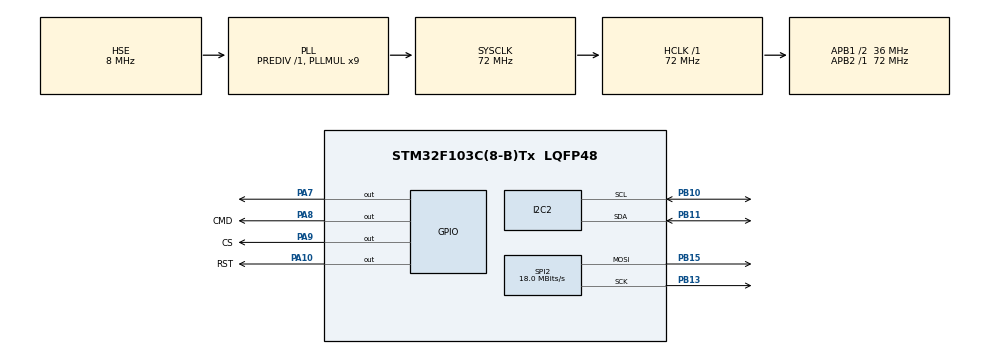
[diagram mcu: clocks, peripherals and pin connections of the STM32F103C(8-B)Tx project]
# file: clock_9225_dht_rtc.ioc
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Mcu.Family=STM32F1
Mcu.Name=STM32F103C(8-B)Tx
Mcu.Package=LQFP48
NVIC.PriorityGroup=NVIC_PRIORITYGROUP_4
PA10.GPIO_Label=RST
PA10.Signal=GPIO_Output
PA13.Mode=Serial_Wire
PA13.Signal=SYS_JTMS-SWDIO
PA14.Mode=Serial_Wire
PA14.Signal=SYS_JTCK-SWCLK
PA7.Signal=GPIO_Output
PA8.GPIO_Label=CMD
PA8.Signal=GPIO_Output
PA9.GPIO_Label=CS
PA9.Signal=GPIO_Output
PB10.Mode=I2C
PB10.Signal=I2C2_SCL
PB11.Mode=I2C
PB11.Signal=I2C2_SDA
PB13.Mode=TX_Only_Simplex_Unidirect_Master
PB13.Signal=SPI2_SCK
PB15.Mode=TX_Only_Simplex_Unidirect_Master
PB15.Signal=SPI2_MOSI
PD0-OSC_IN.Mode=HSE-External-Oscillator
PD0-OSC_IN.Signal=RCC_OSC_IN
PD1-OSC_OUT.Mode=HSE-External-Oscillator
PD1-OSC_OUT.Signal=RCC_OSC_OUT
ProjectManager.HeapSize=0x200
ProjectManager.StackSize=0x400
ProjectManager.TargetToolchain=STM32CubeIDE
RCC.AHBFreq_Value=72000000
RCC.APB1CLKDivider=RCC_HCLK_DIV2
RCC.APB1Freq_Value=36000000
RCC.APB1TimFreq_Value=72000000
RCC.APB2Freq_Value=72000000
RCC.APB2TimFreq_Value=72000000
RCC.HCLKFreq_Value=72000000
RCC.PLLMUL=RCC_PLL_MUL9
RCC.PLLSourceVirtual=RCC_PLLSOURCE_HSE
RCC.SYSCLKFreq_VALUE=72000000
RCC.SYSCLKSource=RCC_SYSCLKSOURCE_PLLCLK
RCC.USBFreq_Value=72000000
SPI2.CalculateBaudRate=18.0 MBits/s
SPI2.Direction=SPI_DIRECTION_2LINES
SPI2.Mode=SPI_MODE_MASTER
SPI2.VirtualType=VM_MASTER
board=custom

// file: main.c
/* USER CODE BEGIN Header */
/**
  ******************************************************************************
  * @file           : main.c
  * @brief          : Main program body
  ******************************************************************************
  * @attention
  *
  * Copyright (c) 2023 STMicroelectronics.
  * All rights reserved.
  *
  * This software is licensed under terms that can be found in the LICENSE file
  * in the root directory of this software component.
  * If no LICENSE file comes with this software, it is provided AS-IS.
  *
  ******************************************************************************
  */
/* USER CODE END Header */
#include "main.h"

/* USER CODE BEGIN Includes */
#include "ILI9225.h"
#include "DHT.h"
#include "stdio.h"
#include "stdint.h"
#include <string.h>
#include "RTC.h"
/* USER CODE END Includes */

I2C_HandleTypeDef hi2c2;

SPI_HandleTypeDef hspi2;

/* USER CODE BEGIN PV */
uint8_t second_present, min_present, hour_present, date_present, month_present, year_present;
uint8_t second_temp, min_temp, hour_temp, date_temp, month_temp, year_temp;
char temperature_string[100];
char humidity_string[100];
float Temperature;
float Humidity;
char str1[100];

char str2[100];

DHT_DataTypedef DHT11_Data;
/* USER CODE END PV */

void SystemClock_Config(void);
static void MX_GPIO_Init(void);
static void MX_SPI2_Init(void);
static void MX_I2C2_Init(void);

/* USER CODE BEGIN 0 */
DHT_DataTypedef DHT11;
DateTime_t datetime;

void Read_DataDHT(void)
{
	DHT_GetData(&DHT11_Data);
	Temperature = DHT11_Data.Temperature;
	Humidity = DHT11_Data.Humidity;
}

/* USER CODE END 0 */

int main(void)
{

  /* MCU Configuration--------------------------------------------------------*/

  /* Reset of all peripherals, Initializes the Flash interface and the Systick. */
  HAL_Init();

  /* Configure the system clock */
  SystemClock_Config();

  /* Initialize all configured peripherals */
  MX_GPIO_Init();
  MX_SPI2_Init();
  MX_I2C2_Init();
  /* USER CODE BEGIN 2 */
  lcd_init();
  fill_rectangle(0, 0, WIDTH, HEIGHT, COLOR_WHITE);
  draw_string(0, 50, COLOR_GREENYELLOW, 5, "HELLO");
  HAL_Delay(2500);
  fill_rectangle(0, 0, WIDTH, HEIGHT, COLOR_WHITE);
//  Read_DataDHT();
//
  // Cài đặt thời gian ban đầu
  datetime.second = 15;
  datetime.min = 44;
  datetime.hour = 12;
  datetime.day = 8;
  datetime.date = 58;
  datetime.month = 12;
  datetime.year = 23;
  RTC_WriteTime(&datetime);

  draw_string(20, 50, COLOR_GOLD, 5, "QMDP");
  HAL_Delay(2500);
  fill_rectangle(0, 0, 176, 220, COLOR_WHITE);
//  Read_DataDHT();
  draw_string(20, 20, COLOR_GOLD, 1, "TEMPERATURE");
  draw_string(20, 40, COLOR_GOLD, 1, "HUMIDITY");
  /* USER CODE END 2 */

  /* Infinite loop */
  while (1)
  {

    /* USER CODE BEGIN 3 */

		 RTC_ReadTime(&datetime);
		  second_temp = datetime.second;
		  min_temp = datetime.min;
		  hour_temp = datetime.hour;
		  date_temp = datetime.date;
		  month_temp = datetime.month;
		  year_temp = datetime.year;
		  sprintf(str1, "Time %.2d:%.2d:%.2d", datetime.hour, datetime.min, datetime.second);

		  if(second_temp != second_present)
		  {
			  fill_rectangle(140, 100, 160, 110, COLOR_WHITE);
			  second_present = second_temp;
		  }
		  draw_string(40, 100, COLOR_BLACK, 1, str1);

		  if(min_temp != min_present)
		  	  {
		  		  fill_rectangle(110, 100, 130, 110, COLOR_WHITE);
		  		  min_present = min_temp;
		  	  }
		  draw_string(40, 100, COLOR_BLACK, 1, str1);

		  if(hour_temp != hour_present)
		 	  	  {
		 	  		  fill_rectangle(85, 100, 105, 110, COLOR_WHITE);
		 	  		  hour_present = hour_temp;
		 	  	  }
		  draw_string(40, 100, COLOR_BLACK, 1, str1);

		  sprintf(str2,"Date %.2d/%.2d/%.2d",datetime.date,datetime.month,datetime.year );
//	// để sprintf ở đây cho nó chính xác, date, month, year lâu lắm
//		  //để sprintf ở đây để convert, lệnh in lên LCD nằm trong thư viện của LCD
		  if(date_temp != date_present)
		  	 	  	  {
		  	 	  		  fill_rectangle(85, 115, 105, 135, COLOR_WHITE);
		  	 	  		  date_present = date_temp;
		  	 	  	  }
		  	  draw_string(40, 120, COLOR_BLACK, 1, str2);

		  	if(month_temp != month_present)
		  		 	  	  {
		  		 	  		  fill_rectangle(110, 115, 130, 135, COLOR_WHITE);
		  		 	  		  month_present = month_temp;
		  		 	  	  }
		  		  draw_string(40, 120, COLOR_BLACK, 1, str2);

		  		if(year_temp != year_present)
		  			 	  	  {
		  			 	  		  fill_rectangle(135, 115, 160, 135, COLOR_WHITE);
		  			 	  		  year_present = year_temp;
		  			 	  	  }
		  			  draw_string(40, 120, COLOR_BLACK, 1, str2);

	      snprintf(temperature_string, 7, "%.2f", Temperature);
	      snprintf(humidity_string, 7, "%.2f", Humidity);
	      fill_rectangle(150, 20, 220, 50, COLOR_WHITE);
//          Read_DataDHT();
	      draw_string(20, 20, COLOR_GOLD, 1, "TEMPERATURE");
	      draw_string(20, 40, COLOR_GOLD, 1, "HUMIDITY");

	      draw_string(150, 20, COLOR_BLUE, 1, temperature_string);
		  draw_string(150, 40, COLOR_BLUE, 1, humidity_string);
//	  	  DHT_GetData(&dht11);
	  	  Read_DataDHT();
  }
  /* USER CODE END 3 */
}

void SystemClock_Config(void)
{
  RCC_OscInitTypeDef RCC_OscInitStruct = {0};
  RCC_ClkInitTypeDef RCC_ClkInitStruct = {0};

  /** Initializes the RCC Oscillators according to the specified parameters
  * in the RCC_OscInitTypeDef structure.
  */
  RCC_OscInitStruct.OscillatorType = RCC_OSCILLATORTYPE_HSE;
  RCC_OscInitStruct.HSEState = RCC_HSE_ON;
  RCC_OscInitStruct.HSEPredivValue = RCC_HSE_PREDIV_DIV1;
  RCC_OscInitStruct.HSIState = RCC_HSI_ON;
  RCC_OscInitStruct.PLL.PLLState = RCC_PLL_ON;
  RCC_OscInitStruct.PLL.PLLSource = RCC_PLLSOURCE_HSE;
  RCC_OscInitStruct.PLL.PLLMUL = RCC_PLL_MUL9;
  if (HAL_RCC_OscConfig(&RCC_OscInitStruct) != HAL_OK)
  {
    Error_Handler();
  }

  /** Initializes the CPU, AHB and APB buses clocks
  */
  RCC_ClkInitStruct.ClockType = RCC_CLOCKTYPE_HCLK|RCC_CLOCKTYPE_SYSCLK
                              |RCC_CLOCKTYPE_PCLK1|RCC_CLOCKTYPE_PCLK2;
  RCC_ClkInitStruct.SYSCLKSource = RCC_SYSCLKSOURCE_PLLCLK;
  RCC_ClkInitStruct.AHBCLKDivider = RCC_SYSCLK_DIV1;
  RCC_ClkInitStruct.APB1CLKDivider = RCC_HCLK_DIV2;
  RCC_ClkInitStruct.APB2CLKDivider = RCC_HCLK_DIV1;

  if (HAL_RCC_ClockConfig(&RCC_ClkInitStruct, FLASH_LATENCY_2) != HAL_OK)
  {
    Error_Handler();
  }
}

static void MX_I2C2_Init(void)
{

  hi2c2.Instance = I2C2;
  hi2c2.Init.ClockSpeed = 100000;
  hi2c2.Init.DutyCycle = I2C_DUTYCYCLE_2;
  hi2c2.Init.OwnAddress1 = 0;
  hi2c2.Init.AddressingMode = I2C_ADDRESSINGMODE_7BIT;
  hi2c2.Init.DualAddressMode = I2C_DUALADDRESS_DISABLE;
  hi2c2.Init.OwnAddress2 = 0;
  hi2c2.Init.GeneralCallMode = I2C_GENERALCALL_DISABLE;
  hi2c2.Init.NoStretchMode = I2C_NOSTRETCH_DISABLE;
  if (HAL_I2C_Init(&hi2c2) != HAL_OK)
  {
    Error_Handler();
  }

}

static void MX_SPI2_Init(void)
{

  /* SPI2 parameter configuration*/
  hspi2.Instance = SPI2;
  hspi2.Init.Mode = SPI_MODE_MASTER;
  hspi2.Init.Direction = SPI_DIRECTION_2LINES;
  hspi2.Init.DataSize = SPI_DATASIZE_8BIT;
  hspi2.Init.CLKPolarity = SPI_POLARITY_LOW;
  hspi2.Init.CLKPhase = SPI_PHASE_1EDGE;
  hspi2.Init.NSS = SPI_NSS_SOFT;
  hspi2.Init.BaudRatePrescaler = SPI_BAUDRATEPRESCALER_2;
  hspi2.Init.FirstBit = SPI_FIRSTBIT_MSB;
  hspi2.Init.TIMode = SPI_TIMODE_DISABLE;
  hspi2.Init.CRCCalculation = SPI_CRCCALCULATION_DISABLE;
  hspi2.Init.CRCPolynomial = 10;
  if (HAL_SPI_Init(&hspi2) != HAL_OK)
  {
    Error_Handler();
  }

}

static void MX_GPIO_Init(void)
{
  GPIO_InitTypeDef GPIO_InitStruct = {0};

  /* GPIO Ports Clock Enable */
  __HAL_RCC_GPIOD_CLK_ENABLE();
  __HAL_RCC_GPIOA_CLK_ENABLE();
  __HAL_RCC_GPIOB_CLK_ENABLE();

  /*Configure GPIO pin Output Level */
  HAL_GPIO_WritePin(GPIOA, GPIO_PIN_7|CMD_Pin|CS_Pin|RST_Pin, GPIO_PIN_RESET);

  /*Configure GPIO pins : PA7 CMD_Pin CS_Pin RST_Pin */
  GPIO_InitStruct.Pin = GPIO_PIN_7|CMD_Pin|CS_Pin|RST_Pin;
  GPIO_InitStruct.Mode = GPIO_MODE_OUTPUT_PP;
  GPIO_InitStruct.Pull = GPIO_NOPULL;
  GPIO_InitStruct.Speed = GPIO_SPEED_FREQ_LOW;
  HAL_GPIO_Init(GPIOA, &GPIO_InitStruct);

}

void Error_Handler(void)
{
  __disable_irq();
  while (1)
  {
  }
}
